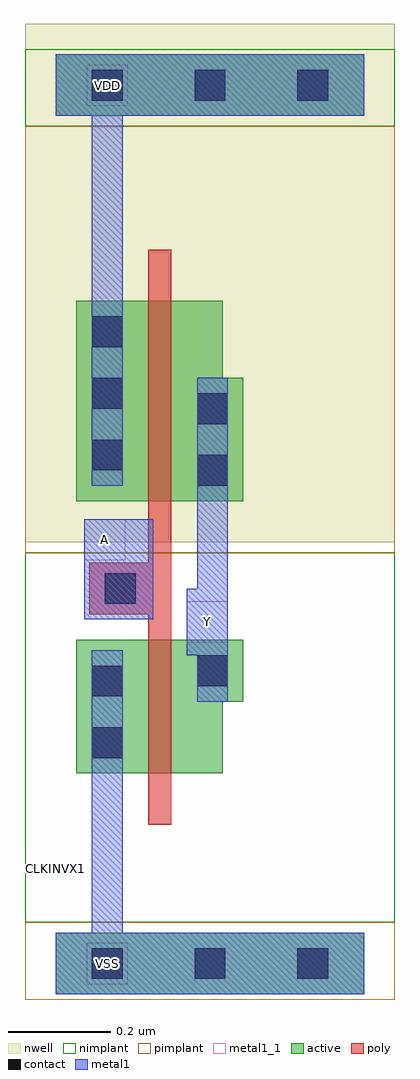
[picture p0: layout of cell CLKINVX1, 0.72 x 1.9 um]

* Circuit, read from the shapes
.subckt CLKINVX1 A VDD VSS Y
M1 Y A VSS VSS nfet w=0.26u l=0.045u
M2 Y A VDD VDD pfet w=0.39u l=0.045u
.ends

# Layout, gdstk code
import gdstk
lib = gdstk.Library(unit=1e-6, precision=5e-10)
def R(c, l, rs):  # rectangles x0, y0, x1, y1
    for r in rs: c.add(gdstk.rectangle(r[:2], r[2:], *l))
def A(c, l, x, y, w, h, nx, ny, dx, dy):  # array of equal rectangles
    R(c, l, [(x+i*dx, y+j*dy, x+i*dx+w, y+j*dy+h) for i in range(nx) for j in range(ny)])
def P(c, l, *ps):  # polygons
    for p in ps: c.add(gdstk.Polygon(p, *l))
active = (1, 0)
nwell = (2, 0)
poly = (3, 0)
nimplant = (4, 0)
pimplant = (5, 0)
contact = (6, 0)
metal1 = (7, 0)
metal1_1 = (7, 1)

clkinvx1 = lib.new_cell('CLKINVX1')
R(clkinvx1, active, [(0,-0.06,0.6,0.06), (0,1.65,0.6,1.77)])
P(clkinvx1, active, [(0.365,1.14),(0.325,1.14),(0.325,1.29),(0.04,1.29),(0.04,0.9),(0.365,0.9)],
  [(0.365,0.63),(0.04,0.63),(0.04,0.37),(0.325,0.37),(0.325,0.51),(0.365,0.51)])
R(clkinvx1, nwell, [(-0.06,0.82,0.66,1.83)])
P(clkinvx1, poly, [(0.18,1.39),(0.225,1.39),(0.225,0.27),(0.18,0.27),(0.18,0.68),(0.065,0.68),(0.065,0.78),(0.18,0.78)])
R(clkinvx1, nimplant, [(-0.06,0.08,0.66,0.8), (-0.06,1.63,0.66,1.78)])
R(clkinvx1, pimplant, [(-0.06,-0.07,0.66,0.08), (-0.06,0.8,0.66,1.63)])
A(clkinvx1, contact, 0.07, -0.03, 0.06, 0.06, 3, 2, 0.2, 1.71)
A(clkinvx1, contact, 0.07, 0.96, 0.06, 0.06, 1, 3, 0, 0.12)
R(clkinvx1, contact, [(0.07,0.4,0.13,0.46), (0.07,0.52,0.13,0.58), (0.275,0.54,0.335,0.6), (0.095,0.7,0.155,0.76), (0.275,0.93,0.335,0.99), (0.275,1.05,0.335,1.11)])
R(clkinvx1, metal1, [(0.055,0.67,0.19,0.865)])
P(clkinvx1, metal1, [(0.335,1.14),(0.275,1.14),(0.275,0.73),(0.255,0.73),(0.255,0.6),(0.275,0.6),(0.275,0.51),(0.335,0.51)],
  [(0.07,0.61),(0.13,0.61),(0.13,0.06),(0.6,0.06),(0.6,-0.06),(0,-0.06),(0,0.06),(0.07,0.06)],
  [(0,1.77),(0.6,1.77),(0.6,1.65),(0.13,1.65),(0.13,0.93),(0.07,0.93),(0.07,1.65),(0,1.65)])
R(clkinvx1, metal1_1, [(0.06,-0.04,0.14,0.04), (0.255,0.625,0.335,0.705), (0.055,0.785,0.135,0.865), (0.06,1.67,0.14,1.75)])
clkinvx1.add(gdstk.Label('VSS', (0.1,0), layer=7, texttype=1))
clkinvx1.add(gdstk.Label('VDD', (0.1,1.71), layer=7, texttype=1))
clkinvx1.add(gdstk.Label('A', (0.095,0.825), layer=7, texttype=1))
clkinvx1.add(gdstk.Label('Y', (0.295,0.665), layer=7, texttype=1))
clkinvx1.add(gdstk.Label('CLKINVX1', (0,0.185), layer=63, texttype=0))

lib.write_gds('CLKINVX1.gds')
